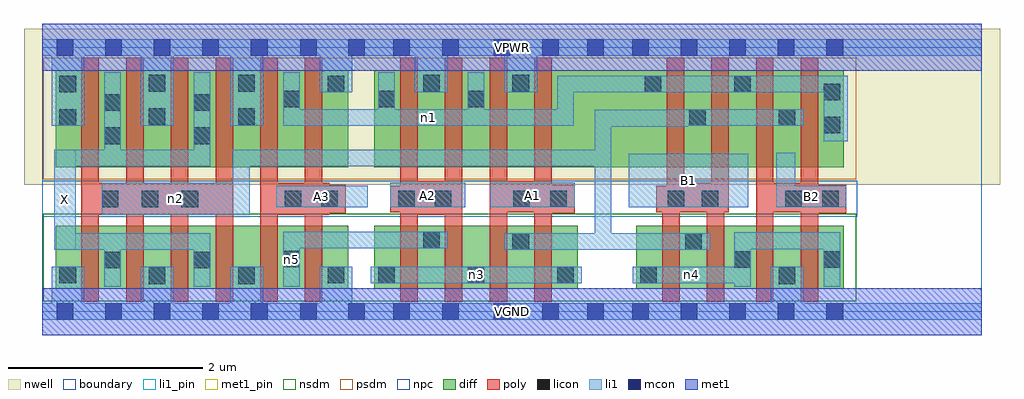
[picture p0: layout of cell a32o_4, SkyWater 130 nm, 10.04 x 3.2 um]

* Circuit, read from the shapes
.subckt a32o_4 A1 A2 A3 B1 B2 VGND VPWR X n1 n2 n3 n4 n5
XM1 X n2 VGND VSUBS sky130_fd_pr__nfet_01v8 w=0.65 l=0.18 m=4
XM2 n5 A3 VGND VSUBS sky130_fd_pr__nfet_01v8 w=0.65 l=0.18 m=2
XM3 n5 A2 n3 VSUBS sky130_fd_pr__nfet_01v8 w=0.65 l=0.18 m=2
XM4 n2 A1 n3 VSUBS sky130_fd_pr__nfet_01v8 w=0.65 l=0.18 m=2
XM5 n2 B1 n4 VSUBS sky130_fd_pr__nfet_01v8 w=0.65 l=0.18 m=2
XM6 VGND B2 n4 VSUBS sky130_fd_pr__nfet_01v8 w=0.65 l=0.18 m=2
XM7 X n2 VPWR n6 sky130_fd_pr__pfet_01v8 w=1 l=0.18 m=4
XM8 n1 A3 VPWR n6 sky130_fd_pr__pfet_01v8 w=1 l=0.18 m=2
XM9 VPWR A2 n1 n6 sky130_fd_pr__pfet_01v8 w=1 l=0.18 m=2
XM10 VPWR A1 n1 n6 sky130_fd_pr__pfet_01v8 w=1 l=0.18 m=2
XM11 n2 B1 n1 n6 sky130_fd_pr__pfet_01v8 w=1 l=0.18 m=2
XM12 n2 B2 n1 n6 sky130_fd_pr__pfet_01v8 w=1 l=0.18 m=2
.ends

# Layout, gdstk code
import gdstk
lib = gdstk.Library(unit=1e-6, precision=1e-09)
def R(c, l, rs):  # rectangles x0, y0, x1, y1
    for r in rs: c.add(gdstk.rectangle(r[:2], r[2:], *l))
def A(c, l, x, y, w, h, nx, ny, dx, dy):  # array of equal rectangles
    R(c, l, [(x+i*dx, y+j*dy, x+i*dx+w, y+j*dy+h) for i in range(nx) for j in range(ny)])
nwell = (64, 20)
diff = (65, 20)
poly = (66, 20)
licon = (66, 44)
li1_pin = (67, 16)
li1 = (67, 20)
mcon = (67, 44)
met1_pin = (68, 16)
met1 = (68, 20)
nsdm = (93, 44)
psdm = (94, 20)
npc = (95, 20)
boundary = (235, 4)

a32o_4 = lib.new_cell('a32o_4')
R(a32o_4, nwell, [(-0.19,1.305,9.85,2.91), (0,1.305,9.66,2.91)])
R(a32o_4, diff, [(0.135,0.235,3.145,0.885), (3.415,0.235,5.505,0.885), (6.11,0.235,8.245,0.885), (0.135,1.485,3.145,2.485), (3.415,1.485,8.245,2.485)])
A(a32o_4, poly, 0.4, 0.105, 0.18, 2.51, 6, 1, 0.46, 0)
A(a32o_4, poly, 3.68, 0.105, 0.18, 2.51, 4, 1, 0.46, 0)
R(a32o_4, poly, [(6.375,0.105,6.555,1.295), (6.835,0.105,6.88,1.325), (6.88,0.105,7.015,2.615), (7.34,0.105,7.52,2.615), (7.8,0.105,7.98,2.615), (0.4,0.995,1.96,1.325), (2.24,0.995,2.95,1.325), (3.68,0.995,4.32,1.345), (2.24,1.015,3.12,1.305), (5.06,1.015,5.475,1.305), (7.8,1.015,8.27,1.305), (3.575,1.025,4.32,1.295), (4.6,1.025,5.24,1.345), (6.315,1.025,7.06,1.295), (6.42,1.025,6.6,2.615), (6.42,1.025,7.06,1.325), (6.88,1.025,7.06,2.615), (7.34,1.025,7.98,1.325)])
A(a32o_4, licon, 3.455, 0.295, 0.17, 0.17, 3, 1, 0.92, 0)
A(a32o_4, licon, 0.61, 1.075, 0.17, 0.17, 3, 1, 0.41, 0)
R(a32o_4, licon, [(1.095,0.285,1.265,0.455), (2.015,0.285,2.185,0.455), (7.575,0.285,7.745,0.455), (0.175,0.295,0.345,0.465), (2.935,0.295,3.105,0.465), (6.15,0.295,6.32,0.465), (0.635,0.445,0.805,0.615), (1.555,0.445,1.725,0.615), (7.115,0.45,7.285,0.62), (8.035,0.45,8.205,0.62), (2.475,0.455,2.645,0.625), (4.835,0.635,5.005,0.805), (6.61,0.635,6.78,0.805), (3.915,0.655,4.085,0.825), (2.49,1.075,2.66,1.245), (2.87,1.075,3.04,1.245), (3.66,1.075,3.83,1.245), (4.035,1.075,4.205,1.245), (4.845,1.075,5.015,1.245), (5.225,1.075,5.395,1.245), (6.43,1.075,6.6,1.245), (6.78,1.075,6.95,1.245), (7.64,1.075,7.81,1.245), (8.02,1.075,8.19,1.245), (0.635,1.725,0.805,1.895), (1.555,1.725,1.725,1.895), (8.035,1.835,8.205,2.005), (0.175,1.915,0.345,2.085), (6.655,1.915,6.825,2.085), (7.575,1.915,7.745,2.085), (1.095,1.925,1.265,2.095), (2.015,1.925,2.185,2.095), (0.635,2.065,0.805,2.235), (1.555,2.065,1.725,2.235), (2.475,2.105,2.645,2.275), (3.455,2.105,3.625,2.275), (4.375,2.105,4.545,2.275), (8.035,2.175,8.205,2.345), (0.175,2.255,0.345,2.425), (2.935,2.255,3.105,2.425), (6.195,2.255,6.365,2.425), (7.115,2.255,7.285,2.425), (1.095,2.265,1.265,2.435), (2.015,2.265,2.185,2.435), (3.915,2.265,4.085,2.435), (4.835,2.265,5.005,2.435)])
R(a32o_4, li1_pin, [(0.12,0.635,0.34,1.665), (2.405,1.075,3.345,1.295), (3.575,1.075,4.35,1.325), (4.605,1.075,5.475,1.325), (6.03,1.075,7.26,1.625), (7.55,1.075,8.27,1.295)])
R(a32o_4, li1, [(0,-0.085,9.66,0.085), (0.095,-0.085,0.43,0.465), (1.01,-0.085,1.35,0.465), (1.93,-0.085,2.27,0.465), (2.85,-0.085,3.185,0.465), (7.49,-0.085,7.83,0.465), (0.635,0.255,0.805,0.805), (1.555,0.255,1.725,0.805), (2.475,0.255,2.645,0.825), (7.115,0.255,7.285,0.815), (8.035,0.255,8.205,0.815), (3.375,0.295,5.545,0.465), (6.07,0.295,7.285,0.465), (0.12,0.635,1.725,0.805), (0.12,0.635,0.34,1.665), (4.75,0.635,6.87,0.805), (5.68,0.635,5.85,2.075), (7.115,0.645,8.205,0.815), (2.475,0.655,4.17,0.825), (0.61,0.995,2.13,1.325), (1.955,0.995,2.13,1.665), (2.405,1.075,3.345,1.295), (3.575,1.075,4.35,1.325), (4.605,1.075,5.475,1.325), (6.03,1.075,7.26,1.625), (7.55,1.075,8.27,1.295), (7.55,1.075,7.745,1.635), (0.12,1.495,1.725,1.665), (0.635,1.495,0.805,2.465), (1.555,1.495,1.725,2.465), (1.955,1.495,5.85,1.665), (8.035,1.755,8.285,2.425), (5.68,1.905,6.64,1.915), (0.095,1.915,0.43,2.805), (1.01,1.915,1.35,2.805), (1.93,1.915,2.27,2.805), (2.475,1.915,2.645,2.465), (2.475,1.915,5.465,2.085), (3.455,1.915,3.625,2.465), (4.375,1.915,4.545,2.465), (5.295,1.915,5.465,2.425), (5.68,1.915,7.83,2.075), (6.57,1.915,7.83,2.085), (2.85,2.255,3.185,2.805), (3.83,2.255,4.17,2.805), (4.75,2.255,5.09,2.805), (5.295,2.255,8.285,2.425), (0,2.635,9.66,2.805)])
A(a32o_4, mcon, 0.145, -0.085, 0.17, 0.17, 5, 2, 0.5, 2.72)
A(a32o_4, mcon, 6.065, -0.085, 0.17, 0.17, 5, 2, 0.5, 2.72)
R(a32o_4, mcon, [(2.65,-0.085,2.82,0.085), (3.145,-0.085,3.315,0.085), (3.61,-0.085,3.78,0.085), (4.11,-0.085,4.28,0.085), (4.64,-0.085,4.81,0.085), (5.14,-0.085,5.31,0.085), (5.605,-0.085,5.775,0.085), (2.65,2.635,2.82,2.805), (3.145,2.635,3.315,2.805), (3.61,2.635,3.78,2.805), (4.11,2.635,4.28,2.805), (4.64,2.635,4.81,2.805), (5.14,2.635,5.31,2.805), (5.605,2.635,5.775,2.805)])
R(a32o_4, met1_pin, [(0,-0.24,9.66,0.24), (0,2.48,9.66,2.96)])
R(a32o_4, met1, [(0,-0.24,9.66,0.24), (0,2.48,9.66,2.96)])
R(a32o_4, nsdm, [(0.01,0.11,8.37,1.01)])
R(a32o_4, psdm, [(0.01,1.36,8.37,2.61)])
R(a32o_4, npc, [(0,0.975,8.38,1.345)])
R(a32o_4, boundary, [(0,0,9.66,2.72)])
a32o_4.add(gdstk.Label('A1', (5.04,1.2), layer=67, texttype=5))
a32o_4.add(gdstk.Label('A2', (3.962,1.2), layer=67, texttype=5))
a32o_4.add(gdstk.Label('A3', (2.875,1.185), layer=67, texttype=5))
a32o_4.add(gdstk.Label('B1', (6.645,1.35), layer=67, texttype=5))
a32o_4.add(gdstk.Label('B2', (7.91,1.185), layer=67, texttype=5))
a32o_4.add(gdstk.Label('X', (0.23,1.15), layer=67, texttype=5))
a32o_4.add(gdstk.Label('n3', (4.46,0.38), layer=67, texttype=5))
a32o_4.add(gdstk.Label('n4', (6.677,0.38), layer=67, texttype=5))
a32o_4.add(gdstk.Label('n5', (2.56,0.54), layer=67, texttype=5))
a32o_4.add(gdstk.Label('n2', (1.37,1.16), layer=67, texttype=5))
a32o_4.add(gdstk.Label('n1', (3.97,2), layer=67, texttype=5))
a32o_4.add(gdstk.Label('VPWR', (4.83,2.72), layer=68, texttype=5))
a32o_4.add(gdstk.Label('VGND', (4.83,0), layer=68, texttype=5))
a32o_4.add(gdstk.Label('A1', (5.04,1.2), layer=67, texttype=16))
a32o_4.add(gdstk.Label('A2', (3.962,1.2), layer=67, texttype=16))
a32o_4.add(gdstk.Label('A3', (2.875,1.185), layer=67, texttype=16))
a32o_4.add(gdstk.Label('B1', (6.645,1.35), layer=67, texttype=16))
a32o_4.add(gdstk.Label('B2', (7.91,1.185), layer=67, texttype=16))
a32o_4.add(gdstk.Label('X', (0.23,1.15), layer=67, texttype=16))
a32o_4.add(gdstk.Label('VPWR', (4.83,2.72), layer=68, texttype=16))
a32o_4.add(gdstk.Label('VGND', (4.83,0), layer=68, texttype=16))

lib.write_gds('a32o_4.gds')
